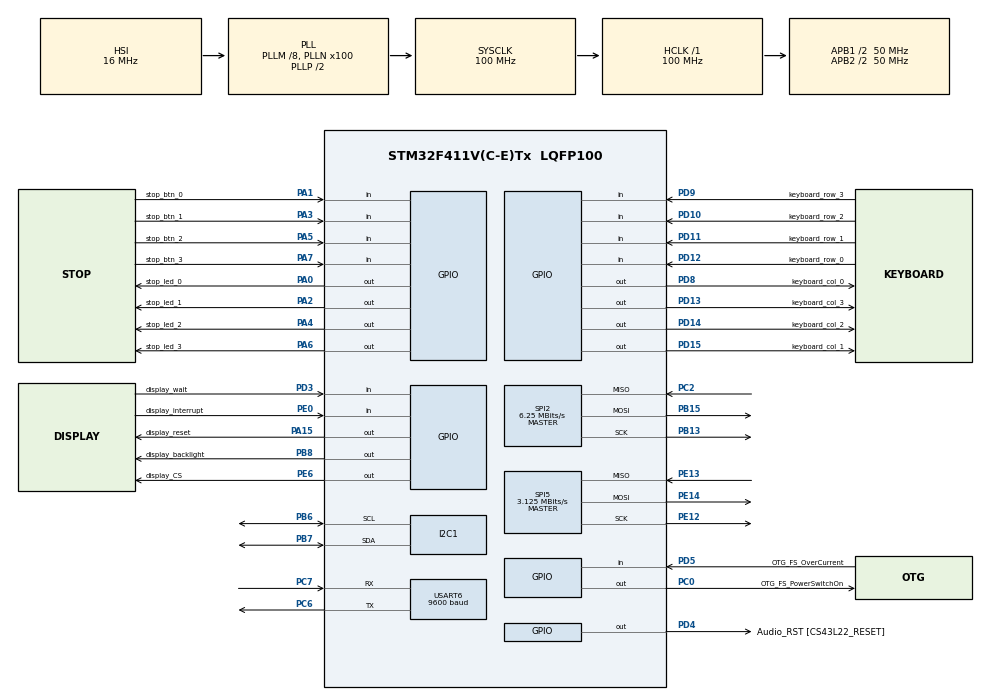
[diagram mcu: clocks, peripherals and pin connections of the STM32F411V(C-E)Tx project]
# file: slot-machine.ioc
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FREERTOS.Tasks01=defaultTask,16,128,StartDefaultTask,Default,NULL,Dynamic,NULL,NULL;main_display,8,128,main_display_task,Default,NULL,Dynamic,NULL,NULL;buttons,8,128,buttons_task,Default,NULL,Dynamic,NULL,NULL;controlDisplay,16,128,control_display,Default,NULL,Dynamic,NULL,NULL
FREERTOS.configUSE_NEWLIB_REENTRANT=1
Mcu.Family=STM32F4
Mcu.Name=STM32F411V(C-E)Tx
Mcu.Package=LQFP100
NVIC.PriorityGroup=NVIC_PRIORITYGROUP_4
NVIC.TIM1_UP_TIM10_IRQn=true\:15\:0\:false\:false\:true\:false\:false\:true\:true
NVIC.TimeBase=TIM1_UP_TIM10_IRQn
NVIC.TimeBaseIP=TIM1
PA0-WKUP.GPIO_Label=stop_led_0
PA0-WKUP.Signal=GPIO_Output
PA1.GPIO_Label=stop_btn_0
PA1.Signal=GPIO_Input
PA10.GPIO_Label=OTG_FS_ID
PA10.Signal=USB_OTG_FS_ID
PA11.GPIO_Label=OTG_FS_DM
PA11.Signal=USB_OTG_FS_DM
PA13.GPIO_Label=SWDIO
PA13.Signal=SYS_JTMS-SWDIO
PA14.GPIO_Label=SWCLK
PA14.Signal=SYS_JTCK-SWCLK
PA15.GPIO_Label=display_reset
PA15.GPIO_ModeDefaultOutputPP=GPIO_MODE_OUTPUT_OD
PA15.GPIO_PuPd=GPIO_NOPULL
PA15.Signal=GPIO_Output
PA2.GPIO_Label=stop_led_1
PA2.Signal=GPIO_Output
PA3.GPIO_Label=stop_btn_1
PA3.Signal=GPIO_Input
PA4.GPIO_Label=stop_led_2
PA4.Signal=GPIO_Output
PA5.GPIO_Label=stop_btn_2
PA5.Signal=GPIO_Input
PA6.GPIO_Label=stop_led_3
PA6.Signal=GPIO_Output
PA7.GPIO_Label=stop_btn_3
PA7.Signal=GPIO_Input
PA9.GPIO_Label=VBUS_FS
PA9.Signal=USB_OTG_FS_VBUS
PB10.GPIO_Label=CLK_IN [MP45DT02_CLK]
PB10.Signal=I2S2_CK
PB12.Signal=I2S2_WS
PB13.Mode=Full_Duplex_Master
PB13.Signal=SPI2_SCK
PB15.Mode=Full_Duplex_Master
PB15.Signal=SPI2_MOSI
PB3.GPIO_Label=SWO
PB3.Signal=SYS_JTDO-SWO
PB6.Mode=I2C
PB6.Signal=I2C1_SCL
PB7.Mode=I2C
PB7.Signal=I2C1_SDA
PB8.GPIO_Label=display_backlight
PB8.Signal=GPIO_Output
PC0.GPIO_Label=OTG_FS_PowerSwitchOn
PC0.PinState=GPIO_PIN_SET
PC0.Signal=GPIO_Output
PC10.GPIO_Label=I2S3_SCK [CS43L22_SCLK]
PC10.GPIO_Mode=GPIO_MODE_AF_PP
PC10.GPIO_PuPd=GPIO_NOPULL
PC10.GPIO_Speed=GPIO_SPEED_FREQ_LOW
PC10.Signal=I2S3_CK
PC14-OSC32_IN.GPIO_Label=PC14-OSC32_IN
PC14-OSC32_IN.Signal=RCC_OSC32_IN
PC15-OSC32_OUT.GPIO_Label=PC15-OSC32_OUT
PC15-OSC32_OUT.Signal=RCC_OSC32_OUT
PC2.GPIO_PuPd=GPIO_NOPULL
PC2.Mode=Full_Duplex_Master
PC2.Signal=SPI2_MISO
PC3.GPIO_Label=PDM_OUT [MP45DT02_DOUT]
PC3.Signal=I2S2_SD
PC6.Mode=Asynchronous
PC6.Signal=USART6_TX
PC7.Mode=Asynchronous
PC7.Signal=USART6_RX
PD10.GPIO_Label=keyboard_row_2
PD10.GPIO_PuPd=GPIO_PULLUP
PD10.Signal=GPIO_Input
PD11.GPIO_Label=keyboard_row_1
PD11.GPIO_PuPd=GPIO_PULLUP
PD11.Signal=GPIO_Input
PD12.GPIO_Label=keyboard_row_0
PD12.GPIO_PuPd=GPIO_PULLUP
PD12.Signal=GPIO_Input
PD13.GPIO_Label=keyboard_col_3
PD13.GPIO_ModeDefaultOutputPP=GPIO_MODE_OUTPUT_OD
PD13.GPIO_PuPd=GPIO_PULLUP
PD13.Signal=GPIO_Output
PD14.GPIO_Label=keyboard_col_2
PD14.GPIO_ModeDefaultOutputPP=GPIO_MODE_OUTPUT_OD
PD14.GPIO_PuPd=GPIO_PULLUP
PD14.Signal=GPIO_Output
PD15.GPIO_Label=keyboard_col_1
PD15.GPIO_ModeDefaultOutputPP=GPIO_MODE_OUTPUT_OD
PD15.GPIO_PuPd=GPIO_PULLUP
PD15.Signal=GPIO_Output
PD3.GPIO_Label=display_wait
PD3.Signal=GPIO_Input
PD4.GPIO_Label=Audio_RST [CS43L22_RESET]
PD4.Signal=GPIO_Output
PD5.GPIO_Label=OTG_FS_OverCurrent
PD5.Signal=GPIO_Input
PD8.GPIO_Label=keyboard_col_0
PD8.GPIO_ModeDefaultOutputPP=GPIO_MODE_OUTPUT_OD
PD8.GPIO_PuPd=GPIO_PULLUP
PD8.Signal=GPIO_Output
PD9.GPIO_Label=keyboard_row_3
PD9.GPIO_PuPd=GPIO_PULLUP
PD9.Signal=GPIO_Input
PE0.GPIO_Label=display_interrupt
PE0.Signal=GPIO_Input
PE12.Mode=Full_Duplex_Master
PE12.Signal=SPI5_SCK
PE13.Mode=Full_Duplex_Master
PE13.Signal=SPI5_MISO
PE14.GPIO_PuPd=GPIO_PULLUP
PE14.Mode=Full_Duplex_Master
PE14.Signal=SPI5_MOSI
PE6.GPIO_Label=display_CS
PE6.GPIO_PuPd=GPIO_PULLUP
PE6.Signal=GPIO_Output
PH0\ -\ OSC_IN.GPIO_Label=PH0-OSC_IN
PH0\ -\ OSC_IN.Signal=RCC_OSC_IN
PH1\ -\ OSC_OUT.GPIO_Label=PH1-OSC_OUT
PH1\ -\ OSC_OUT.Signal=RCC_OSC_OUT
ProjectManager.HeapSize=0x200
ProjectManager.StackSize=0x400
ProjectManager.TargetToolchain=STM32CubeIDE
RCC.48MHZClocksFreq_Value=25000000
RCC.AHBFreq_Value=100000000
RCC.APB1CLKDivider=RCC_HCLK_DIV2
RCC.APB1Freq_Value=50000000
RCC.APB1TimFreq_Value=100000000
RCC.APB2CLKDivider=RCC_HCLK_DIV2
RCC.APB2Freq_Value=50000000
RCC.APB2TimFreq_Value=100000000
RCC.CortexFreq_Value=100000000
RCC.HCLKFreq_Value=100000000
RCC.HSE_VALUE=8000000
RCC.HSI_VALUE=16000000
RCC.LSE_VALUE=32768
RCC.PLLI2SM=5
RCC.PLLI2SN=200
RCC.PLLM=8
RCC.PLLN=100
RCC.PLLQ=8
RCC.SYSCLKFreq_VALUE=100000000
RCC.SYSCLKSource=RCC_SYSCLKSOURCE_PLLCLK
RCC.VCOOutputFreq_Value=200000000
SPI2.BaudRatePrescaler=SPI_BAUDRATEPRESCALER_8
SPI2.CLKPhase=SPI_PHASE_2EDGE
SPI2.CLKPolarity=SPI_POLARITY_HIGH
SPI2.CalculateBaudRate=6.25 MBits/s
SPI2.Direction=SPI_DIRECTION_2LINES
SPI2.Mode=SPI_MODE_MASTER
SPI2.VirtualType=VM_MASTER
SPI5.BaudRatePrescaler=SPI_BAUDRATEPRESCALER_16
SPI5.CLKPhase=SPI_PHASE_2EDGE
SPI5.CLKPolarity=SPI_POLARITY_HIGH
SPI5.CalculateBaudRate=3.125 MBits/s
SPI5.Direction=SPI_DIRECTION_2LINES
SPI5.Mode=SPI_MODE_MASTER
SPI5.VirtualType=VM_MASTER
USART6.BaudRate=9600
USART6.VirtualMode=VM_ASYNC
VP_FREERTOS_VS_CMSIS_V2.Mode=CMSIS_V2
VP_SYS_VS_tim1.Mode=TIM1
board=STM32F411E-DISCO

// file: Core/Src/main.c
/* USER CODE BEGIN Header */
/**
  ******************************************************************************
  * @file           : main.c
  * @brief          : Main program body
  ******************************************************************************
  * @attention
  *
  * Copyright (c) 2025 STMicroelectronics.
  * All rights reserved.
  *
  * This software is licensed under terms that can be found in the LICENSE file
  * in the root directory of this software component.
  * If no LICENSE file comes with this software, it is provided AS-IS.
  *
  ******************************************************************************
  */
/* USER CODE END Header */
#include "main.h"
#include "cmsis_os.h"
#include "i2c.h"
#include "spi.h"
#include "usart.h"
#include "gpio.h"

void SystemClock_Config(void);
void MX_FREERTOS_Init(void);

int main(void)
{

  /* MCU Configuration--------------------------------------------------------*/

  /* Reset of all peripherals, Initializes the Flash interface and the Systick. */
  HAL_Init();

  /* Configure the system clock */
  SystemClock_Config();

  /* Initialize all configured peripherals */
  MX_GPIO_Init();
  MX_SPI2_Init();
  MX_SPI5_Init();
  MX_I2C1_Init();
  MX_USART6_UART_Init();

  /* Init scheduler */
  osKernelInitialize();  /* Call init function for freertos objects (in cmsis_os2.c) */
  MX_FREERTOS_Init();

  /* Start scheduler */
  osKernelStart();

  /* We should never get here as control is now taken by the scheduler */

  /* Infinite loop */
  while (1)
  {

  }
}

void SystemClock_Config(void)
{
  RCC_OscInitTypeDef RCC_OscInitStruct = {0};
  RCC_ClkInitTypeDef RCC_ClkInitStruct = {0};

  /** Configure the main internal regulator output voltage
  */
  __HAL_RCC_PWR_CLK_ENABLE();
  __HAL_PWR_VOLTAGESCALING_CONFIG(PWR_REGULATOR_VOLTAGE_SCALE1);

  /** Initializes the RCC Oscillators according to the specified parameters
  * in the RCC_OscInitTypeDef structure.
  */
  RCC_OscInitStruct.OscillatorType = RCC_OSCILLATORTYPE_HSI;
  RCC_OscInitStruct.HSIState = RCC_HSI_ON;
  RCC_OscInitStruct.HSICalibrationValue = RCC_HSICALIBRATION_DEFAULT;
  RCC_OscInitStruct.PLL.PLLState = RCC_PLL_ON;
  RCC_OscInitStruct.PLL.PLLSource = RCC_PLLSOURCE_HSI;
  RCC_OscInitStruct.PLL.PLLM = 8;
  RCC_OscInitStruct.PLL.PLLN = 100;
  RCC_OscInitStruct.PLL.PLLP = RCC_PLLP_DIV2;
  RCC_OscInitStruct.PLL.PLLQ = 8;
  if (HAL_RCC_OscConfig(&RCC_OscInitStruct) != HAL_OK)
  {
    Error_Handler();
  }

  /** Initializes the CPU, AHB and APB buses clocks
  */
  RCC_ClkInitStruct.ClockType = RCC_CLOCKTYPE_HCLK|RCC_CLOCKTYPE_SYSCLK
                              |RCC_CLOCKTYPE_PCLK1|RCC_CLOCKTYPE_PCLK2;
  RCC_ClkInitStruct.SYSCLKSource = RCC_SYSCLKSOURCE_PLLCLK;
  RCC_ClkInitStruct.AHBCLKDivider = RCC_SYSCLK_DIV1;
  RCC_ClkInitStruct.APB1CLKDivider = RCC_HCLK_DIV2;
  RCC_ClkInitStruct.APB2CLKDivider = RCC_HCLK_DIV2;

  if (HAL_RCC_ClockConfig(&RCC_ClkInitStruct, FLASH_LATENCY_3) != HAL_OK)
  {
    Error_Handler();
  }
}

void HAL_TIM_PeriodElapsedCallback(TIM_HandleTypeDef *htim)
{
  if (htim->Instance == TIM1)
  {
    HAL_IncTick();
  }
}

void Error_Handler(void)
{
  __disable_irq();
  while (1)
  {
  }
}

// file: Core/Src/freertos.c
/* USER CODE BEGIN Header */
/**
  ******************************************************************************
  * File Name          : freertos.c
  * Description        : Code for freertos applications
  ******************************************************************************
  * @attention
  *
  * Copyright (c) 2025 STMicroelectronics.
  * All rights reserved.
  *
  * This software is licensed under terms that can be found in the LICENSE file
  * in the root directory of this software component.
  * If no LICENSE file comes with this software, it is provided AS-IS.
  *
  ******************************************************************************
  */
/* USER CODE END Header */

#include "FreeRTOS.h"
#include "task.h"
#include "main.h"
#include "cmsis_os.h"

/* USER CODE BEGIN Includes */
#include "gpio.h"
#include "RA8876_driver.h"
#include "Matrix_Keypad.h"
#include "LCD1602.h"
#include "MP3_player.h"
#include <stdio.h>
#include "string.h"

/* USER CODE END Includes */

/* USER CODE BEGIN PTD */
static inline uint16_t to_rgb565(uint8_t r, uint8_t g, uint8_t b);
uint8_t simple_rand(void);
void stagger_stop_buttons(uint16_t);
void initialise_main_display(void);
uint8_t custom_parse_win_rate(const char *win_rate_str);
void ui_draw_password(void);
void ui_draw_menu(void);
void ui_draw_win_rate(void);
void ui_draw_stats(void);
void ui_draw_audio(void);
void ui_draw_lose_music(void);
void ui_draw_volume(void);
void ui_draw_startup_sequence(void);
void slot_srand(uint32_t seed);
uint32_t slot_rand(void);
uint32_t get_random_number(uint32_t min_value, uint32_t max_value);
void elevate_main_display_task(void);
void elevate_control_task(void);
/* USER CODE END PTD */

/* USER CODE BEGIN PD */
#define RGB565(r, g, b) (((r & 0xF8) << 8) | ((g & 0xFC) << 3) | (b >> 3))
/* USER CODE END PD */

/* USER CODE BEGIN PM */
typedef enum {
	SlotLocked,
	SlotEnterPassword,
	SlotStartup,
	SlotIdle,
	SlotGameStart,
	SlotGameRoll2,
	SlotGameRoll3,
	SlotGameEvaluation,
	SlotUIDrawWinRate,
	SlotSetChance,
	SlotUIDrawStats,
	SlotUIDrawAudio,
	SlotSetAudio,
	SlotWaitForOk,

} SlotGamestateEnum;
SlotGamestateEnum GameState = SlotLocked;
uint8_t win_rate_percent = 20;
// because the winrate needs to be global
// and the menu dialog is controlled from a seperated task
// the new_win_rate percent will also be global
uint8_t new_win_rate_percent = 10;
static uint32_t prng_state;

struct SlotStats {
	uint32_t session_total_games;
	uint32_t session_won_games;
};
struct SlotStats slot_stats = { 0, 0 };

struct SlotAudioSettings {
	uint8_t lose_music_on;
	uint8_t volume;
};
struct SlotAudioSettings slot_audio_settings = { 1, 10 };

/* USER CODE END PM */

/* Definitions for defaultTask */
osThreadId_t defaultTaskHandle;
const osThreadAttr_t defaultTask_attributes = {
  .name = "defaultTask",
  .stack_size = 128 * 4,
  .priority = (osPriority_t) osPriorityBelowNormal,
};
/* Definitions for main_display */
osThreadId_t main_displayHandle;
const osThreadAttr_t main_display_attributes = {
  .name = "main_display",
  .stack_size = 128 * 4,
  .priority = (osPriority_t) osPriorityLow,
};
/* Definitions for buttons */
osThreadId_t buttonsHandle;
const osThreadAttr_t buttons_attributes = {
  .name = "buttons",
  .stack_size = 128 * 4,
  .priority = (osPriority_t) osPriorityLow,
};
/* Definitions for controlDisplay */
osThreadId_t controlDisplayHandle;
const osThreadAttr_t controlDisplay_attributes = {
  .name = "controlDisplay",
  .stack_size = 128 * 4,
  .priority = (osPriority_t) osPriorityBelowNormal,
};

void StartDefaultTask(void *argument);
void main_display_task(void *argument);
void buttons_task(void *argument);
void control_display(void *argument);

void MX_FREERTOS_Init(void); /* (MISRA C 2004 rule 8.1) */

void MX_FREERTOS_Init(void) {

  /* Create the thread(s) */
  /* creation of defaultTask */
  defaultTaskHandle = osThreadNew(StartDefaultTask, NULL, &defaultTask_attributes);

  /* creation of main_display */
  main_displayHandle = osThreadNew(main_display_task, NULL, &main_display_attributes);

  /* creation of buttons */
  buttonsHandle = osThreadNew(buttons_task, NULL, &buttons_attributes);

  /* creation of controlDisplay */
  controlDisplayHandle = osThreadNew(control_display, NULL, &controlDisplay_attributes);

}

void StartDefaultTask(void *argument)
{
  /* USER CODE BEGIN StartDefaultTask */
  /* Infinite loop */
	// goal
	char pressed_keys[20];
	char pressed_key = ' ';
	for (;;)
  {
		KeypadGetKey(&pressed_keys);
		pressed_key = pressed_keys[0];
		switch (GameState) {
		case SlotIdle:
			if (HAL_GPIO_ReadPin(stop_btn_0_GPIO_Port, stop_btn_0_Pin)) {
				GameState = SlotGameStart;
			}
			// the control display is always in the menu dialog during IDLE
			// we have to always elevate the prio of the control to make it snappy
			switch (pressed_key) {
			case '1':
				elevate_control_task();
				GameState = SlotUIDrawAudio;
				break;
			case '2':
				elevate_control_task();
				GameState = SlotUIDrawStats;
				break;
			case '3':
				elevate_control_task();
				GameState = SlotUIDrawWinRate;
				break;
			default:
				break;
			}
			break;
			// for all control display pages, that are only info
		case SlotWaitForOk:
			switch (pressed_key) {
			case 'A':
				GameState = SlotIdle;
				elevate_main_display_task();
				break;
			default:
				break;
			}
			break;
		default:
			osDelay(100);
			break;
		}
		osDelay(50);
  }
  /* USER CODE END StartDefaultTask */
}

void main_display_task(void *argument)
{
  /* USER CODE BEGIN main_display_task */
  /* Infinite loop */
	// first reset stuff
	HAL_GPIO_WritePin(display_reset_GPIO_Port, display_reset_Pin,
			GPIO_PIN_RESET);
	osDelay(50);
	HAL_GPIO_WritePin(display_reset_GPIO_Port, display_reset_Pin, GPIO_PIN_SET);
	osDelay(200);

	uint8_t initialised = 0;
	int ran_symbol = 1;
	osDelay(10);
	uint8_t roll1_symbol = 0;
	uint8_t roll2_symbol = 0;
	uint8_t roll3_symbol = 0;

	uint8_t will_win = 0;
	uint8_t winning_symbol = 0;
	uint8_t ACTIVE_SYMBOLS[5] = { SNOWMAN, DIAMOND, PRESENT, TREE,
			PACMAN };

	// stop constantly redrawing winning symbols
	uint8_t will_win_draw_helper = 0;
	uint8_t random_number = 0;
  for(;;)
  {
		switch (GameState) {
		case SlotIdle:
			if (initialised == 0
								&& HAL_GPIO_ReadPin(display_wait_GPIO_Port,
			display_wait_Pin) == GPIO_PIN_SET) {
				initialise_main_display();
				initialised = 1;
			}

			// only send something over SPI if wait is HIGH, wich means ready
			if (initialised
					&& HAL_GPIO_ReadPin(display_wait_GPIO_Port,
							display_wait_Pin) == GPIO_PIN_SET) {
				random_number = (uint8_t) get_random_number(0, 100);
				will_win = random_number <= win_rate_percent;
				random_number = (uint8_t) get_random_number(0,
						sizeof(ACTIVE_SYMBOLS) - 1);

				winning_symbol = ACTIVE_SYMBOLS[random_number];

			}
			osDelay(100);
			break;
		case SlotGameStart:
			// draw roll one until first button is pressed
			roll1_symbol = RA8876_SLOT_draw_roll(0, 1);
			break;
		case SlotGameRoll2:
			// first save the selected symbol of the roll before
			if (will_win && will_win_draw_helper == 0) {
			RA8876_SLOT_stop_roll(0, winning_symbol);
				will_win_draw_helper++;
			}
			roll2_symbol = RA8876_SLOT_draw_roll(1, 1);

			break;
		case SlotGameRoll3:
			// last roll
			if (will_win && will_win_draw_helper == 1) {
				RA8876_SLOT_stop_roll(1, winning_symbol);
				will_win_draw_helper++;
			}
			roll3_symbol = RA8876_SLOT_draw_roll(2, 1);
			break;
		case SlotGameEvaluation:

			if (will_win) {
				RA8876_SLOT_stop_roll(2, winning_symbol);

				// winner winner chicken dinner
				MP3_play_sound_effect(4);
				will_win_draw_helper = 0;
				osDelay(7000);
				RA8876_SLOT_clear();
				GameState = SlotIdle;
				slot_stats.session_won_games++;
			} else {
				// make sure the last roll is NOT correct
				if (roll3_symbol == roll2_symbol
						&& roll3_symbol == roll1_symbol) {
					random_number = (uint8_t) get_random_number(0,
							sizeof(ACTIVE_SYMBOLS) - 1);
					roll3_symbol = ACTIVE_SYMBOLS[random_number];
					RA8876_SLOT_stop_roll(2, roll3_symbol);

				} else {
					RA8876_SLOT_clear();
					GameState = SlotIdle;
				}
				if (slot_audio_settings.lose_music_on) {
				MP3_play_sound_effect(3);
				}
			}
			slot_stats.session_total_games++;
			osDelay(500);
			break;
		default:
			osDelay(500);
			break;
		}
		osDelay(150);

  }
  /* USER CODE END main_display_task */
}

void buttons_task(void *argument)
{
  /* USER CODE BEGIN buttons_task */
  /* Infinite loop */

  for(;;)
  {

		switch (GameState) {
		case SlotIdle:
			stagger_stop_buttons(75);

			break;
		case SlotGameStart:
			// reset all other buttons
			HAL_GPIO_WritePin(stop_led_0_GPIO_Port, stop_led_0_Pin,
					GPIO_PIN_RESET);
			HAL_GPIO_WritePin(stop_led_1_GPIO_Port, stop_led_1_Pin,
					GPIO_PIN_RESET);
			HAL_GPIO_WritePin(stop_led_2_GPIO_Port, stop_led_2_Pin,
					GPIO_PIN_RESET);
			HAL_GPIO_TogglePin(stop_led_3_GPIO_Port, stop_led_3_Pin);
			if (HAL_GPIO_ReadPin(stop_btn_3_GPIO_Port, stop_btn_3_Pin)) {
				GameState = SlotGameRoll2;
			}
			break;
		case SlotGameRoll2:
			HAL_GPIO_WritePin(stop_led_3_GPIO_Port, stop_led_3_Pin,
					GPIO_PIN_SET);
			HAL_GPIO_TogglePin(stop_led_2_GPIO_Port, stop_led_2_Pin);
			if (HAL_GPIO_ReadPin(stop_btn_2_GPIO_Port, stop_btn_2_Pin)) {
				GameState = SlotGameRoll3;
			}
			break;
		case SlotGameRoll3:
			HAL_GPIO_WritePin(stop_led_2_GPIO_Port, stop_led_2_Pin,
					GPIO_PIN_SET);
			HAL_GPIO_TogglePin(stop_led_1_GPIO_Port, stop_led_1_Pin);
			if (HAL_GPIO_ReadPin(stop_btn_1_GPIO_Port, stop_btn_1_Pin)) {
				GameState = SlotGameEvaluation;
			}
			break;
		case SlotGameEvaluation:
			write_stop_buttons(GPIO_PIN_SET);
			osDelay(150);
			write_stop_buttons(GPIO_PIN_RESET);
			break;
		default:
			osDelay(250);
			break;
		}
		osDelay(150);
	}
  /* USER CODE END buttons_task */
}

void control_display(void *argument)
{
  /* USER CODE BEGIN control_display */
  /* Infinite loop */
	char pressed_key = ' ';
	char password_attempt[5] = { 0, 0, 0, 0, '\0' };
	char hidden_digits[5] = { 0, 0, 0, 0, '\0' };
	uint8_t password_index = 0;
	char enter_win_percent[4] = { 0, 0, 0, '\0' };
	uint8_t enter_win_percent_index = 0;
	uint8_t temp_win_rate = 0;
	LCD_Init();
	srand(HAL_GetTick());
	ui_draw_startup_sequence();
	MP3_init();
	osDelay(1000);
	MP3_set_volume(slot_audio_settings.volume);
	LCD_Clear();
	char *password = "1230";
  for(;;)
  {
		char pressed_keys[20];
		KeypadGetKey(&pressed_keys);
		pressed_key = pressed_keys[0];
		switch (GameState) {
		case SlotLocked:
			ui_draw_password();
			GameState = SlotEnterPassword;
			break;
		case SlotEnterPassword:
			if (pressed_key == 0) {
				break;
			}
			password_attempt[password_index] = pressed_key;
			hidden_digits[password_index] = '*';
			LCD_SetCursor(8, 1);
			LCD_PrintString(hidden_digits);
			LCD_SetCursor(8, 2);
			LCD_PrintString(hidden_digits);

			if (password_index >= 3) {
				if (strcmp(password, password_attempt) == 0) {
					GameState = SlotStartup;
				}
				password_index = 0;
				memset(password_attempt, 0, sizeof(password_attempt));
				memset(hidden_digits, 0, sizeof(hidden_digits) - 1);
				LCD_SetCursor(8, 1);
				LCD_PrintString("    ");
				LCD_SetCursor(8, 2);
				LCD_PrintString("    ");

			} else {
				password_index++;
			}
			// delay for simple debouncing
			osDelay(250);
			break;
		case SlotStartup:
			// state for the intermediate directly after unlocking
			// we lower the priority of this task
			LCD_Clear();
			MP3_play_folder(1);
			GameState = SlotIdle;
			elevate_main_display_task();
			break;
		case SlotUIDrawAudio:
			ui_draw_audio();
			GameState = SlotSetAudio;
			break;
		case SlotSetAudio:
			switch (pressed_key) {
			case 'A':
				GameState = SlotIdle;
				elevate_main_display_task();
				break;
			case '1':
				slot_audio_settings.lose_music_on =
						!slot_audio_settings.lose_music_on;
				ui_draw_lose_music();
				break;
			case '2':
				if (slot_audio_settings.volume >= 30) {
					slot_audio_settings.volume = 30;
				} else {
					slot_audio_settings.volume++;
				}
				MP3_set_volume(slot_audio_settings.volume);
				ui_draw_volume();
				break;
			case '3':
				if (slot_audio_settings.volume <= 0) {
					slot_audio_settings.volume = 0;
				} else {
					slot_audio_settings.volume--;
				}
				MP3_set_volume(slot_audio_settings.volume);
				ui_draw_volume();
				break;
			default:
				break;
			}
			break;
		case SlotUIDrawStats:
			ui_draw_stats();
			GameState = SlotWaitForOk;
			break;
		case SlotUIDrawWinRate:
			ui_draw_win_rate();
			GameState = SlotSetChance;
			break;
		case SlotSetChance:
			// this is not optimal, but the menu wouldnt work otherwise
			switch (pressed_key) {
			case 'C':
			case 'D':
			case '*':
			case '#':
			case 0:
				break;
			case 'A':
				// always go into idle after new percentage and reset everything
				win_rate_percent = new_win_rate_percent;
				GameState = SlotIdle;
				memset(enter_win_percent, 0, sizeof(enter_win_percent));
				enter_win_percent_index = 0;
				elevate_main_display_task();
				break;
			case 'B':
				GameState = SlotIdle;
				memset(enter_win_percent, 0, sizeof(enter_win_percent));
				enter_win_percent_index = 0;
				elevate_main_display_task();
				break;
			default:
				// overwrite the old numbers on screen
				if (enter_win_percent_index + 1 >= 4) {
					enter_win_percent_index = 0;
					memset(enter_win_percent, 0, sizeof(enter_win_percent));
					LCD_SetCursor(9, 2);
					LCD_PrintString("   ");
				}
				enter_win_percent[enter_win_percent_index] = pressed_key;

				LCD_SetCursor(9, 2);
				LCD_PrintString(enter_win_percent);

				if (enter_win_percent_index == 2) {
					temp_win_rate = custom_parse_win_rate(enter_win_percent);
					if (temp_win_rate > 0) {
						new_win_rate_percent = temp_win_rate;
					}
				}
				enter_win_percent_index++;

				osDelay(250);
				break;
			}
			break;

		case SlotIdle:
			ui_draw_menu();
			osDelay(250);
			break;
		default:
			break;
		}
		osDelay(250);

	}
  /* USER CODE END control_display */
}

/* USER CODE BEGIN Application */
uint8_t custom_parse_win_rate(const char *win_rate_str) {
	int value = 0;
	for (int i = 0; i < 3; i++) {
		char c = win_rate_str[i];
		if (c < '0' || c > '9') {
			return 0;
		}
		int digit = c - '0';
		value = (value * 10) + digit;
	}
	if (value > 100) {
		value = 100;
	}
	else if (value == 0) {
		value = 1;
	}
	return (value);
}
void elevate_control_task() {
	osThreadSetPriority(main_displayHandle, osPriorityLow);
	osThreadSetPriority(controlDisplayHandle, osPriorityNormal);
}
void elevate_main_display_task() {
	osThreadSetPriority(main_displayHandle, osPriorityNormal);
	osThreadSetPriority(controlDisplayHandle, osPriorityLow);
}
void ui_draw_startup_sequence() {
	LCD_SetCursor(0, 0);
	LCD_PrintString(" OOO O    OOO  OOO  ");
	LCD_SetCursor(0, 1);
	LCD_PrintString(" OO  O   O   O  O   ");
	LCD_SetCursor(0, 2);
	LCD_PrintString("  OO O   O   O  O   ");
	LCD_SetCursor(0, 3);
	LCD_PrintString(" OOO OOO  OOO   O   ");
}
void ui_draw_password() {
	LCD_SetCursor(0, 0);
	LCD_PrintString("#-----Password-----#");
	LCD_SetCursor(0, 1);
	LCD_PrintString("#                  #");
	LCD_SetCursor(0, 2);
	LCD_PrintString("#                  #");
	LCD_SetCursor(0, 3);
	LCD_PrintString("#------------------#");
}
void ui_draw_menu() {
	LCD_SetCursor(0, 0);
	LCD_PrintString("     1) Audio       ");
	LCD_SetCursor(0, 1);
	LCD_PrintString("     2) Stats       ");
	LCD_SetCursor(0, 2);
	LCD_PrintString("     3) Win rate    ");
	LCD_SetCursor(0, 3);
	LCD_PrintString("  Made by Alexander ");
}
void ui_draw_audio() {
	// control lose music and volume

	LCD_SetCursor(0, 0);
	LCD_PrintString("#-------Audio------#");
	ui_draw_lose_music();
	ui_draw_volume();
	LCD_SetCursor(0, 3);
	LCD_PrintString("#--A-OK------------#");
}
void ui_draw_volume() {
	char volume_str[21];
	snprintf(volume_str, sizeof(volume_str), "#+2 -3 volume:  %02d #",
			slot_audio_settings.volume);
	LCD_SetCursor(0, 2);
	LCD_PrintString(volume_str);
}
void ui_draw_lose_music() {
	LCD_SetCursor(0, 1);
	if (slot_audio_settings.lose_music_on) {
		LCD_PrintString("#1) lose tune: on  #");
	} else {
		LCD_PrintString("#1) lose tune: off #");
	}
}
void ui_draw_stats() {
	// display slot_stats and the actual win rate
	char actual_win_rate_str[21];
	char total_games_str[21];
	uint8_t actual_win_rate_percent =
			(uint8_t) (
			((float) slot_stats.session_won_games
					/ slot_stats.session_total_games) * 100);
	snprintf(actual_win_rate_str, sizeof(actual_win_rate_str),
			"#  win rate:    %02d #",
			actual_win_rate_percent);
	snprintf(total_games_str, sizeof(total_games_str),
			"# total games: %03d #",
			slot_stats.session_total_games);
	LCD_SetCursor(0, 0);
	LCD_PrintString("#------Stats.------#");
	LCD_SetCursor(0, 1);
	LCD_PrintString(actual_win_rate_str);
	LCD_SetCursor(0, 2);
	LCD_PrintString(total_games_str);
	LCD_SetCursor(0, 3);
	LCD_PrintString("#--A-OK------------#");
}
void ui_draw_win_rate() {
	// set the win percentage 1-100
	char win_rate_str[21];
	snprintf(win_rate_str, sizeof(win_rate_str), "#    OLD %03d       #",
			win_rate_percent);
	LCD_SetCursor(0, 0);
	LCD_PrintString("#-----Win Rate-----#");
	LCD_SetCursor(0, 1);
	LCD_PrintString(win_rate_str);
	LCD_SetCursor(0, 2);
	LCD_PrintString("#    NEW           #");
	LCD_SetCursor(0, 3);
	LCD_PrintString("#--A-OK------B-NO--#");
}
void write_stop_buttons(GPIO_PinState state) {
	HAL_GPIO_WritePin(stop_led_0_GPIO_Port, stop_led_0_Pin, state);
	HAL_GPIO_WritePin(stop_led_1_GPIO_Port, stop_led_1_Pin, state);
	HAL_GPIO_WritePin(stop_led_2_GPIO_Port, stop_led_2_Pin, state);
	HAL_GPIO_WritePin(stop_led_3_GPIO_Port, stop_led_3_Pin, state);
}
void stagger_stop_buttons(uint16_t time) {
	HAL_GPIO_TogglePin(stop_led_0_GPIO_Port, stop_led_0_Pin);
	osDelay(time);
	HAL_GPIO_TogglePin(stop_led_1_GPIO_Port, stop_led_1_Pin);
	osDelay(time);
	HAL_GPIO_TogglePin(stop_led_2_GPIO_Port, stop_led_2_Pin);
	osDelay(time);
	HAL_GPIO_TogglePin(stop_led_3_GPIO_Port, stop_led_3_Pin);
	osDelay(time);

}

void initialise_main_display() {
	RA8876_PLL_init();
	uint8_t config_register = RA8876_read_register(0x01);
	if ((config_register & 0x80) != 0x80) {
		//PLL init error

	}

	RA8876_SDRAM_init();
	osDelay(5);

	// Wait for SDRAM to finish check bit 6 of Register 0xE4
	while ((RA8876_read_register(0xE4) & 0x01) != 0x01) {
		osDelay(50);
	}

	RA8876_display_init();

	// turn display on test mode
	// RA8876_color_bar_test_on();
	HAL_GPIO_WritePin(display_backlight_GPIO_Port,
	display_backlight_Pin, GPIO_PIN_SET);

	RA8876_display_on();
	HAL_Delay(20);

	RA8876_clear_screen();
	osDelay(20);

	RA8876_fill_bottom_gradient();
	//RA8876_draw_tree(512, 300, 100);
}
uint32_t slot_rand(void) {
	prng_state = (1664525 * prng_state) + 1013904223;
	return prng_state;
}
void slot_srand(uint32_t seed) {
	if (seed == 0)
		prng_state = 1;
	else
		prng_state = seed;
}

uint32_t get_random_number(uint32_t min_value, uint32_t max_value) {
	// inclusive of max_value
	uint32_t range = max_value - min_value + 1;
	return (slot_rand() % range) + min_value;
}

/* USER CODE END Application */
